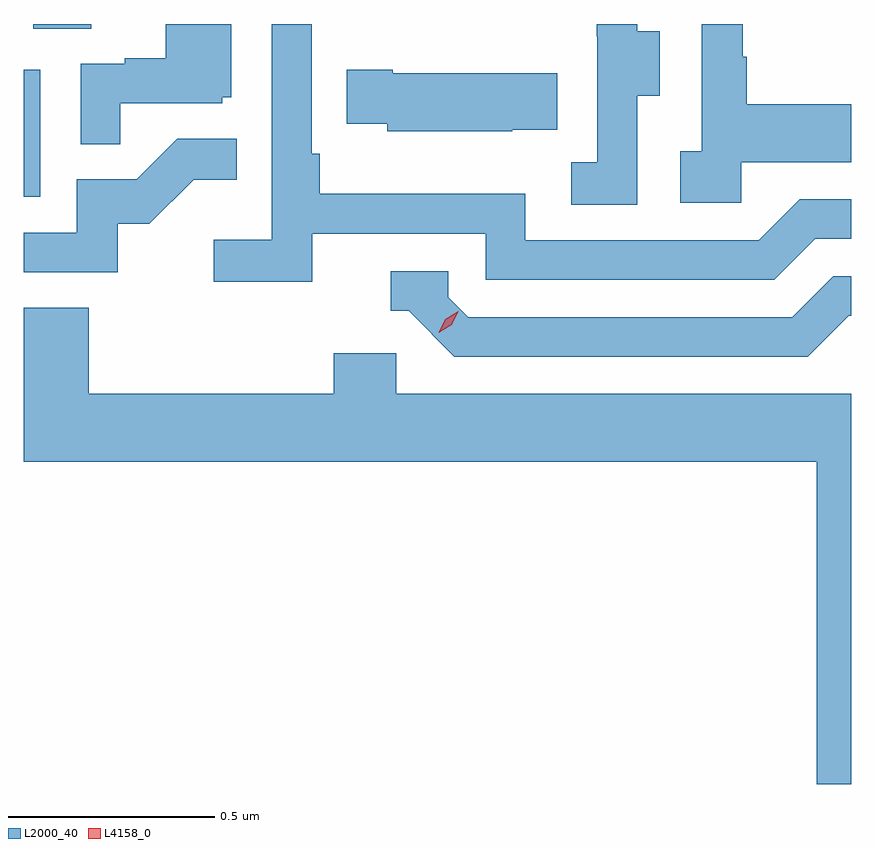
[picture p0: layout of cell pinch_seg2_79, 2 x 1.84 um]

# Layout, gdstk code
import gdstk
lib = gdstk.Library(unit=1e-6, precision=1e-09)
def R(c, l, rs):  # rectangles x0, y0, x1, y1
    for r in rs: c.add(gdstk.rectangle(r[:2], r[2:], *l))
def P(c, l, *ps):  # polygons
    for p in ps: c.add(gdstk.Polygon(p, *l))
L2000_40 = (2000, 40)
L4158_0 = (4158, 0)

pinch_seg2_79 = lib.new_cell('pinch_seg2_79')
R(pinch_seg2_79, L2000_40, [(1046.118,650.94,1046.158,651.247), (1046.141,651.346,1046.281,651.357)])
P(pinch_seg2_79, L2000_40, [(1046.816,650.85),(1047.234,650.85),(1047.234,650.739),(1047.931,650.739),(1048.03,650.838),(1048.118,650.838),(1048.118,650.934),(1047.993,650.934),(1047.894,650.835),(1047.33,650.835),(1047.33,650.947),(1046.834,650.947),(1046.834,651.043),(1046.814,651.043),(1046.814,651.357),(1046.718,651.357),(1046.718,650.836),(1046.577,650.836),(1046.577,650.734),(1046.816,650.734)],
  [(1047.852,651.023),(1048.118,651.023),(1048.118,651.163),(1047.865,651.163),(1047.865,651.278),(1047.855,651.278),(1047.855,651.357),(1047.756,651.357),(1047.756,651.05),(1047.705,651.05),(1047.705,650.925),(1047.852,650.925)],
  [(1046.351,651.165),(1046.598,651.165),(1046.598,651.18),(1046.62,651.18),(1046.62,651.357),(1046.462,651.357),(1046.462,651.274),(1046.363,651.274),(1046.363,651.261),(1046.256,651.261),(1046.256,651.067),(1046.351,651.067)],
  [(1047.6,651.184),(1047.655,651.184),(1047.655,651.339),(1047.601,651.339),(1047.601,651.357),(1047.503,651.357),(1047.503,651.327),(1047.504,651.327),(1047.504,651.023),(1047.441,651.023),(1047.441,650.92),(1047.6,650.92)],
  [(1047.299,651.101),(1047.407,651.101),(1047.407,651.238),(1047.01,651.238),(1047.01,651.246),(1046.899,651.246),(1046.899,651.116),(1046.997,651.116),(1046.997,651.098),(1047.299,651.098)],
  [(1046.346,650.874),(1046.422,650.874),(1046.529,650.981),(1046.633,650.981),(1046.633,651.08),(1046.489,651.08),(1046.391,650.982),(1046.247,650.982),(1046.247,650.853),(1046.118,650.853),(1046.118,650.757),(1046.346,650.757)],
  [(1048.111,650.652),(1048.118,650.652),(1048.118,650.748),(1048.074,650.748),(1047.975,650.649),(1047.192,650.649),(1047.144,650.697),(1047.144,650.76),(1047.005,650.76),(1047.005,650.664),(1047.048,650.664),(1047.159,650.553),(1048.012,650.553)],
  [(1048.118,650.464),(1047.018,650.464),(1047.018,650.562),(1046.867,650.562),(1046.867,650.464),(1046.276,650.464),(1046.276,650.672),(1046.118,650.672),(1046.118,650.3),(1048.034,650.3),(1048.034,649.521),(1048.118,649.521)])
P(pinch_seg2_79, L4158_0, [(1047.121,650.611),(1047.121,650.611),(1047.137,650.644),(1047.168,650.663),(1047.168,650.663),(1047.168,650.663),(1047.152,650.63),(1047.121,650.611)])

lib.write_gds('pinch_seg2_79.gds')
